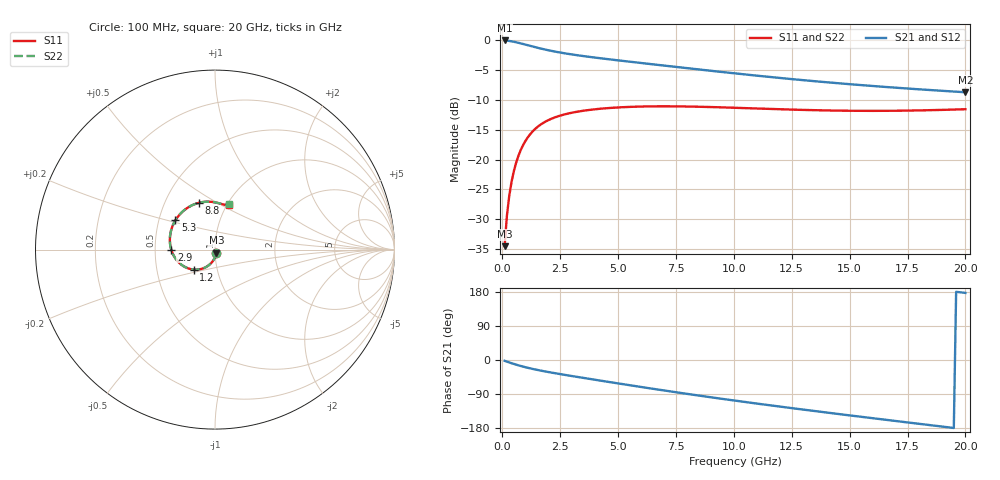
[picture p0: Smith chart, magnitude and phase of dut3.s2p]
! Touchstone file exported from HFSS 2023.1.0
!  File:  D:/Users/fzz/RDL_TSV/temp_RDL_TSV_3_1778742339.aedt
!  Generated:  3:15:50 %x4E0B%x5348  5%x6708 14, 2026
!  Design:  RDL_TSV
!  Project:  temp_RDL_TSV_3_1778742339
!  Setup:  Setup1
!  Solution:  Sweep
! Variables:
!  dtsv = 20.86um
!  hbump = 3um
!  htsv = 97.53um
!  ldown = 193.39um
!  lrdl = 340.9um
!  p = 40
!  p1 = 52.71um
!  rhole = 10um
!  subl = 1943.77um
!  t = 450um
!  tdown = 2.87um
!  trdl = 2.93um
!  viad = 10um
!  wdown = 27.42um
!  wrdl = 27.81um
!  xbump = 18um
# GHz S MA R 50.000000
! Terminal data exported
! Port[1] = TM1_1_T1
! Port[2] = TM1_4_T1
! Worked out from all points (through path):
!   200 points, 100 MHz to 20 GHz, reference 50 ohm
!   highest |S21| = -0.09 dB at 100 MHz (marker M1); lowest = -8.8 dB at 20 GHz (marker M2)
!   group delay of S21, straight-line fit = 23.9 ps
!   lowest |S11| = -34.5 dB at 100 MHz (marker M3), VSWR 1.04, Z = 50.8 - j1.74 ohm
!   |S11| at or under -10 dB: start of sweep to end of sweep
!   |S22| runs from -34.5 to -11.1 dB; largest |S21 - S12| = 3.2e-14
!   S11 on the Smith chart (normalised r, x): 100 MHz: 1.02, -0.03; 1.2 GHz: 0.77, -0.18; 2.9 GHz: 0.61, -0.00; 5.3 GHz: 0.61, +0.22; 8.8 GHz: 0.74, +0.42; 20 GHz: 1.02, +0.55
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0.1  0.01888 -64.8  0.9895 -2.2  0.9895 -2.2  0.01888 -64.8
! Gamma 0 0 0 0
! Port Impedance 50 0 50 0
0.2  0.03398 -83.7  0.9859 -4.4  0.9859 -4.4  0.03396 -83.7
0.3  0.04967 -93.6  0.9804 -6.5  0.9804 -6.5  0.04962 -93.5
0.4  0.06516 -100.7  0.9733 -8.5  0.9733 -8.5  0.06509 -100.7
0.5  0.08013 -106.6  0.965 -10.5  0.965 -10.5  0.08005 -106.6
0.6  0.0944 -111.9  0.9557 -12.3  0.9557 -12.3  0.09432 -111.9
0.8  0.1205 -121.2  0.9353 -15.9  0.9353 -15.9  0.1204 -121.2
1  0.1431 -129.4  0.9137 -19.1  0.9137 -19.1  0.1431 -129.4
1.2  0.1625 -136.8  0.8922 -22.0  0.8922 -22.0  0.1624 -136.8
1.5  0.186 -146.6  0.8618 -26.0  0.8618 -26.0  0.1859 -146.6
1.9  0.2093 -157.9  0.8264 -30.8  0.8264 -30.8  0.2093 -157.9
2.9  0.2438 -180.0  0.7613 -41.3  0.7613 -41.3  0.2439 -180.0
3.5  0.2558 169.3  0.7325 -47.2  0.7325 -47.2  0.2559 169.3
5.3  0.2745 143.3  0.6642 -64.7  0.6642 -64.7  0.2745 143.3
6.8  0.2786 126.3  0.6158 -78.7  0.6158 -78.7  0.2787 126.3
8.8  0.2754 108.6  0.5575 -96.6  0.5575 -96.6  0.2755 108.6
10.1  0.2707 99.7  0.5237 -107.6  0.5237 -107.6  0.2708 99.7
11.7  0.2643 91.2  0.4868 -120.7  0.4868 -120.7  0.2645 91.3
13.4  0.2587 84.7  0.4533 -134.0  0.4533 -134.0  0.2589 84.8
15  0.2557 80.3  0.4265 -146.2  0.4265 -146.2  0.256 80.4
16.7  0.2555 76.9  0.4023 -158.8  0.4023 -158.8  0.2558 77.0
20  0.2634 72.5  0.3652 177.0  0.3652 177.0  0.264 72.6
